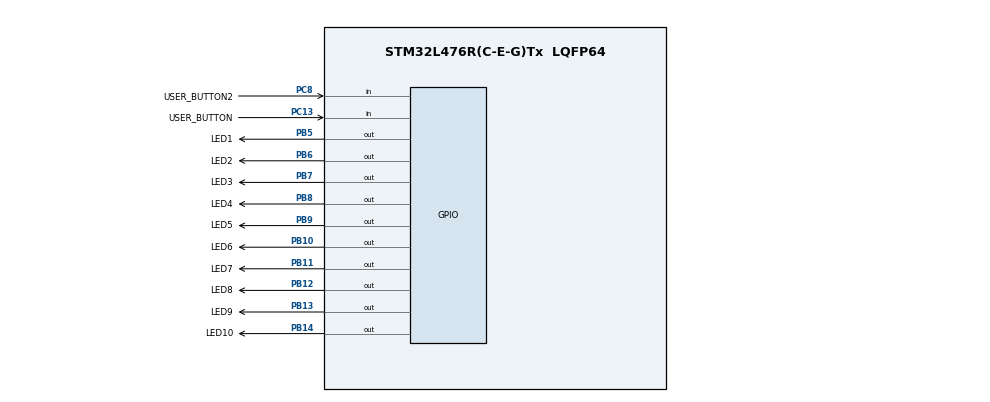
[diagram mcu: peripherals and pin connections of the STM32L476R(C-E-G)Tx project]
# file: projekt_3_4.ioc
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Mcu.Family=STM32L4
Mcu.Name=STM32L476R(C-E-G)Tx
Mcu.Package=LQFP64
NVIC.PriorityGroup=NVIC_PRIORITYGROUP_4
PB10.GPIO_Label=LED6
PB10.Signal=GPIO_Output
PB11.GPIO_Label=LED7
PB11.Signal=GPIO_Output
PB12.GPIO_Label=LED8
PB12.Signal=GPIO_Output
PB13.GPIO_Label=LED9
PB13.Signal=GPIO_Output
PB14.GPIO_Label=LED10
PB14.Signal=GPIO_Output
PB5.GPIO_Label=LED1
PB5.Signal=GPIO_Output
PB6.GPIO_Label=LED2
PB6.Signal=GPIO_Output
PB7.GPIO_Label=LED3
PB7.Signal=GPIO_Output
PB8.GPIO_Label=LED4
PB8.Signal=GPIO_Output
PB9.GPIO_Label=LED5
PB9.Signal=GPIO_Output
PC13.GPIO_Label=USER_BUTTON
PC13.Signal=GPIO_Input
PC8.GPIO_Label=USER_BUTTON2
PC8.Signal=GPIO_Input
ProjectManager.HeapSize=0x200
ProjectManager.StackSize=0x400
ProjectManager.TargetToolchain=STM32CubeIDE
RCC.HSE_VALUE=8000000
RCC.HSI_VALUE=16000000
RCC.LSE_VALUE=32768
RCC.MSI_VALUE=4000000
RCC.VCOOutputFreq_Value=32000000
board=custom

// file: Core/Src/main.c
/* USER CODE BEGIN Header */
/**
  ******************************************************************************
  * @file           : main.c
  * @brief          : Main program body
  ******************************************************************************
  * @attention
  *
  * Copyright (c) 2025 STMicroelectronics.
  * All rights reserved.
  *
  * This software is licensed under terms that can be found in the LICENSE file
  * in the root directory of this software component.
  * If no LICENSE file comes with this software, it is provided AS-IS.
  *
  ******************************************************************************
  */
/* USER CODE END Header */
#include "main.h"

/* USER CODE BEGIN Includes */
#include <stdbool.h>
/* USER CODE END Includes */

void SystemClock_Config(void);
static void MX_GPIO_Init(void);

/* USER CODE BEGIN 0 */
bool is_button_pressed(int button){
	switch (button){
	case 0:
		if (HAL_GPIO_ReadPin(USER_BUTTON_GPIO_Port, USER_BUTTON_Pin) == GPIO_PIN_RESET){
			return true;
		} else {
			return false;
		}
	case 1:
		if (HAL_GPIO_ReadPin(USER_BUTTON2_GPIO_Port, USER_BUTTON2_Pin) == GPIO_PIN_RESET){
			return true;
		} else {
			return false;
		}
	default:
		return false;
	}
	/*if (HAL_GPIO_ReadPin(USER_BUTTON_GPIO_Port, USER_BUTTON_Pin) == GPIO_PIN_RESET){
		return true;
	} else {
		return false;
	}*/
}

typedef struct {
	GPIO_TypeDef* port;
	uint16_t pin;
}pin_t;

static const pin_t LED[] = {
		{ LED1_GPIO_Port, LED1_Pin },
		{ LED2_GPIO_Port, LED2_Pin },
		{ LED3_GPIO_Port, LED3_Pin },
		{ LED4_GPIO_Port, LED4_Pin },
		{ LED5_GPIO_Port, LED5_Pin },
		{ LED6_GPIO_Port, LED6_Pin },
		{ LED7_GPIO_Port, LED7_Pin },
		{ LED8_GPIO_Port, LED8_Pin },
		{ LED9_GPIO_Port, LED9_Pin },
		{ LED10_GPIO_Port, LED10_Pin },
};

void led_set(int led, bool turn_on)
{
	GPIO_PinState state = (turn_on) ? GPIO_PIN_SET : GPIO_PIN_RESET;

	if (led >= 0 && led < 10) {
		HAL_GPIO_WritePin(LED[led].port, LED[led].pin, state);
        }
}
/* USER CODE END 0 */

int main(void)
{

  /* MCU Configuration--------------------------------------------------------*/

  /* Reset of all peripherals, Initializes the Flash interface and the Systick. */
  HAL_Init();

  /* Configure the system clock */
  SystemClock_Config();

  /* Initialize all configured peripherals */
  MX_GPIO_Init();

  /* Infinite loop */
  /* USER CODE BEGIN WHILE */
  int led = 0;
  led_set(led, true);
  while (1)
  {
/*	  if (is_button_pressed()){
		  led_set(led, false);
		  led++;
		  if (led >= 10){
			  led = 0;
		  }
		  led_set(led, true);
		  HAL_Delay(500);
	  }*/

	  /*if (is_button_pressed()){
		  led_set(led, false);
		  if (++led >= 10){
			  led = 0;
		  }
		  led_set(led, true);
		  while (is_button_pressed()){
			  {}
		  }
	  }*/

	  if (is_button_pressed(0)){
		  led_set(led, false);
		  led++;
		  if (led >= 10){
			  led = 0;
		  }
		  led_set (led, true);
		  while (is_button_pressed(0)) {}
	  }

	  if (is_button_pressed(1)){
		  led_set(led,false);
		  led--;
		  if (led < 0){
			  led = 9;
		  }
		  led_set(led, true);
		  HAL_Delay(20); // oczekiwanie na ustanie drgan stykow
		  while (is_button_pressed(1)) {}
		  HAL_Delay(20); // oczekiwanie na ustanie drgan stykow
	  }
    /* USER CODE END WHILE */

  }
}

void SystemClock_Config(void)
{
  RCC_OscInitTypeDef RCC_OscInitStruct = {0};
  RCC_ClkInitTypeDef RCC_ClkInitStruct = {0};

  /** Configure the main internal regulator output voltage
  */
  if (HAL_PWREx_ControlVoltageScaling(PWR_REGULATOR_VOLTAGE_SCALE1) != HAL_OK)
  {
    Error_Handler();
  }

  /** Initializes the RCC Oscillators according to the specified parameters
  * in the RCC_OscInitTypeDef structure.
  */
  RCC_OscInitStruct.OscillatorType = RCC_OSCILLATORTYPE_MSI;
  RCC_OscInitStruct.MSIState = RCC_MSI_ON;
  RCC_OscInitStruct.MSICalibrationValue = 0;
  RCC_OscInitStruct.MSIClockRange = RCC_MSIRANGE_6;
  RCC_OscInitStruct.PLL.PLLState = RCC_PLL_NONE;
  if (HAL_RCC_OscConfig(&RCC_OscInitStruct) != HAL_OK)
  {
    Error_Handler();
  }

  /** Initializes the CPU, AHB and APB buses clocks
  */
  RCC_ClkInitStruct.ClockType = RCC_CLOCKTYPE_HCLK|RCC_CLOCKTYPE_SYSCLK
                              |RCC_CLOCKTYPE_PCLK1|RCC_CLOCKTYPE_PCLK2;
  RCC_ClkInitStruct.SYSCLKSource = RCC_SYSCLKSOURCE_MSI;
  RCC_ClkInitStruct.AHBCLKDivider = RCC_SYSCLK_DIV1;
  RCC_ClkInitStruct.APB1CLKDivider = RCC_HCLK_DIV1;
  RCC_ClkInitStruct.APB2CLKDivider = RCC_HCLK_DIV1;

  if (HAL_RCC_ClockConfig(&RCC_ClkInitStruct, FLASH_LATENCY_0) != HAL_OK)
  {
    Error_Handler();
  }
}

static void MX_GPIO_Init(void)
{
  GPIO_InitTypeDef GPIO_InitStruct = {0};

  /* GPIO Ports Clock Enable */
  __HAL_RCC_GPIOC_CLK_ENABLE();
  __HAL_RCC_GPIOB_CLK_ENABLE();

  /*Configure GPIO pin Output Level */
  HAL_GPIO_WritePin(GPIOB, LED6_Pin|LED7_Pin|LED8_Pin|LED9_Pin
                          |LED10_Pin|LED1_Pin|LED2_Pin|LED3_Pin
                          |LED4_Pin|LED5_Pin, GPIO_PIN_RESET);

  /*Configure GPIO pins : USER_BUTTON_Pin USER_BUTTON2_Pin */
  GPIO_InitStruct.Pin = USER_BUTTON_Pin|USER_BUTTON2_Pin;
  GPIO_InitStruct.Mode = GPIO_MODE_INPUT;
  GPIO_InitStruct.Pull = GPIO_NOPULL;
  HAL_GPIO_Init(GPIOC, &GPIO_InitStruct);

  /*Configure GPIO pins : LED6_Pin LED7_Pin LED8_Pin LED9_Pin
                           LED10_Pin LED1_Pin LED2_Pin LED3_Pin
                           LED4_Pin LED5_Pin */
  GPIO_InitStruct.Pin = LED6_Pin|LED7_Pin|LED8_Pin|LED9_Pin
                          |LED10_Pin|LED1_Pin|LED2_Pin|LED3_Pin
                          |LED4_Pin|LED5_Pin;
  GPIO_InitStruct.Mode = GPIO_MODE_OUTPUT_PP;
  GPIO_InitStruct.Pull = GPIO_NOPULL;
  GPIO_InitStruct.Speed = GPIO_SPEED_FREQ_LOW;
  HAL_GPIO_Init(GPIOB, &GPIO_InitStruct);

}

void Error_Handler(void)
{
  __disable_irq();
  while (1)
  {
  }
}
